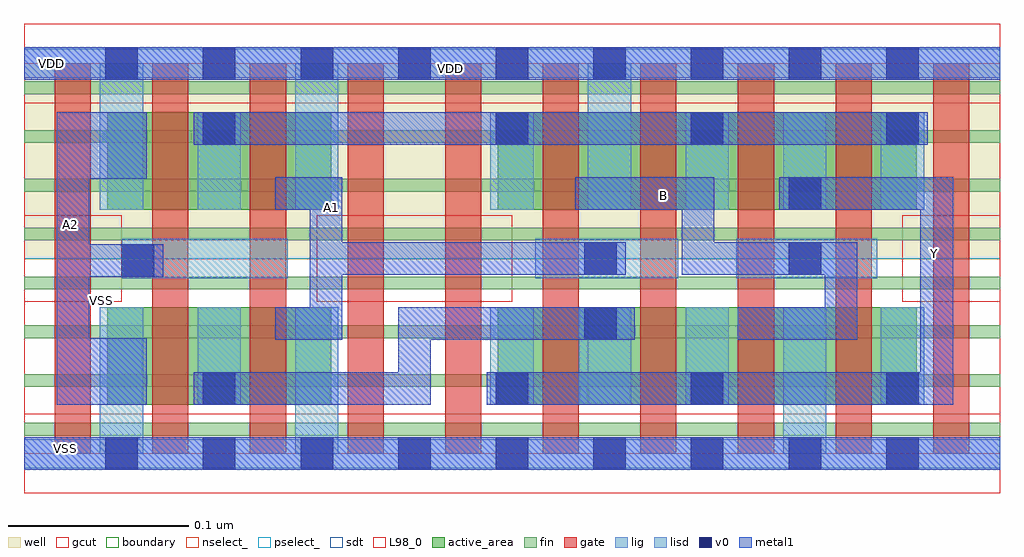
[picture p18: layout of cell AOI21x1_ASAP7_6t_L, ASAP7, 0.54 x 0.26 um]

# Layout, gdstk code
import gdstk
lib = gdstk.Library(unit=1e-6, precision=2.5e-10)
def R(c, l, rs):  # rectangles x0, y0, x1, y1
    for r in rs: c.add(gdstk.rectangle(r[:2], r[2:], *l))
def A(c, l, x, y, w, h, nx, ny, dx, dy):  # array of equal rectangles
    R(c, l, [(x+i*dx, y+j*dy, x+i*dx+w, y+j*dy+h) for i in range(nx) for j in range(ny)])
def P(c, l, *ps):  # polygons
    for p in ps: c.add(gdstk.Polygon(p, *l))
well = (1, 0)
fin = (2, 0)
gate = (7, 0)
gcut = (10, 0)
active_area = (11, 0)
nselect_ = (12, 0)
pselect_ = (13, 0)
lig = (16, 0)
lisd = (17, 0)
v0 = (18, 0)
metal1 = (19, 0)
sdt = (88, 0)
L98_0 = (98, 0)
boundary = (100, 0)

aoi21x1_asap7_6t_l = lib.new_cell('AOI21x1_ASAP7_6t_L')
R(aoi21x1_asap7_6t_l, well, [(0,0.108,0.54,0.216)])
A(aoi21x1_asap7_6t_l, fin, 0, 0.01, 0.54, 0.007, 1, 8, 0, 0.027)
A(aoi21x1_asap7_6t_l, gate, 0.017, 0, 0.02, 0.216, 10, 1, 0.054, 0)
R(aoi21x1_asap7_6t_l, gcut, [(0,-0.022,0.54,0.022), (0,0.084,0.054,0.132), (0.162,0.084,0.27,0.132), (0.486,0.084,0.54,0.132), (0,0.194,0.54,0.238)])
R(aoi21x1_asap7_6t_l, active_area, [(0.046,0.027,0.17,0.081), (0.262,0.027,0.494,0.081), (0.046,0.135,0.17,0.189), (0.262,0.135,0.494,0.189)])
R(aoi21x1_asap7_6t_l, nselect_, [(0,0,0.54,0.108)])
R(aoi21x1_asap7_6t_l, pselect_, [(0,0.108,0.54,0.216)])
R(aoi21x1_asap7_6t_l, lig, [(0,-0.008,0.54,0.008), (0.054,0.097,0.146,0.119), (0.283,0.097,0.362,0.119), (0.394,0.097,0.472,0.119), (0,0.208,0.54,0.224)])
A(aoi21x1_asap7_6t_l, lisd, 0.258, 0.027, 0.024, 0.054, 3, 1, 0.108, 0)
A(aoi21x1_asap7_6t_l, lisd, 0.366, 0.135, 0.024, 0.054, 3, 1, 0.054, 0)
R(aoi21x1_asap7_6t_l, lisd, [(0.042,0,0.066,0.081), (0.15,0,0.174,0.081), (0.42,0,0.444,0.081), (0.096,0.027,0.12,0.081), (0.307,0.027,0.336,0.081), (0.042,0.135,0.066,0.216), (0.096,0.135,0.12,0.189), (0.15,0.135,0.174,0.216), (0.258,0.135,0.282,0.189), (0.312,0.135,0.336,0.216)])
A(aoi21x1_asap7_6t_l, v0, 0.045, -0.009, 0.018, 0.018, 9, 2, 0.054, 0.216)
A(aoi21x1_asap7_6t_l, v0, 0.261, 0.027, 0.018, 0.018, 3, 2, 0.108, 0.144)
R(aoi21x1_asap7_6t_l, v0, [(0.099,0.027,0.117,0.045), (0.31,0.063,0.328,0.081), (0.054,0.098,0.072,0.116), (0.31,0.099,0.328,0.117), (0.423,0.099,0.441,0.117), (0.423,0.135,0.441,0.153), (0.099,0.171,0.117,0.189)])
R(aoi21x1_asap7_6t_l, metal1, [(0,-0.009,0.54,0.009), (0.094,0.171,0.5,0.189), (0,0.207,0.54,0.225)])
P(aoi21x1_asap7_6t_l, metal1, [(0.077,0.116),(0.036,0.116),(0.036,0.152),(0.068,0.152),(0.068,0.189),(0.018,0.189),(0.018,0.027),(0.068,0.027),(0.068,0.064),(0.036,0.064),(0.036,0.098),(0.077,0.098)],
  [(0.461,0.117),(0.382,0.117),(0.382,0.153),(0.305,0.153),(0.305,0.135),(0.364,0.135),(0.364,0.099),(0.443,0.099),(0.443,0.081),(0.395,0.081),(0.395,0.063),(0.461,0.063)],
  [(0.514,0.153),(0.418,0.153),(0.418,0.135),(0.496,0.135),(0.496,0.045),(0.256,0.045),(0.256,0.027),(0.514,0.027)],
  [(0.338,0.081),(0.207,0.081),(0.207,0.045),(0.094,0.045),(0.094,0.027),(0.225,0.027),(0.225,0.063),(0.338,0.063)],
  [(0.333,0.117),(0.176,0.117),(0.176,0.153),(0.139,0.153),(0.139,0.135),(0.158,0.135),(0.158,0.081),(0.139,0.081),(0.139,0.063),(0.176,0.063),(0.176,0.099),(0.333,0.099)])
A(aoi21x1_asap7_6t_l, sdt, 0.042, 0.027, 0.024, 0.054, 3, 2, 0.054, 0.108)
A(aoi21x1_asap7_6t_l, sdt, 0.258, 0.027, 0.024, 0.054, 5, 2, 0.054, 0.108)
R(aoi21x1_asap7_6t_l, L98_0, [(0,0,0.54,0.216)])
R(aoi21x1_asap7_6t_l, boundary, [(0,0,0.54,0.216)])
aoi21x1_asap7_6t_l.add(gdstk.Label('VDD', (0.015,0.216), layer=19, texttype=251))
aoi21x1_asap7_6t_l.add(gdstk.Label('B', (0.354,0.143), layer=19, texttype=251))
aoi21x1_asap7_6t_l.add(gdstk.Label('A1', (0.17,0.136), layer=19, texttype=251))
aoi21x1_asap7_6t_l.add(gdstk.Label('Y', (0.504,0.111), layer=19, texttype=251))
aoi21x1_asap7_6t_l.add(gdstk.Label('A2', (0.026,0.127), layer=19, texttype=251))
aoi21x1_asap7_6t_l.add(gdstk.Label('VSS', (0.023,0.003), layer=19, texttype=251))
aoi21x1_asap7_6t_l.add(gdstk.Label('VDD', (0.236,0.213), layer=1, texttype=251))
aoi21x1_asap7_6t_l.add(gdstk.Label('VSS', (0.043,0.085), layer=3, texttype=251))

lib.write_gds('AOI21x1_ASAP7_6t_L.gds')
